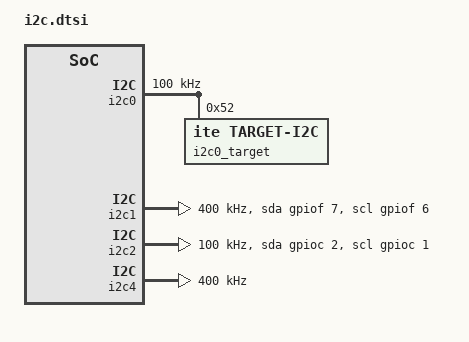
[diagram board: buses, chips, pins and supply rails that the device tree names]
/* Copyright 2025 The ChromiumOS Authors
 * Use of this source code is governed by a BSD-style license that can be
 * found in the LICENSE file.
 */

/ {
	named-i2c-ports {
		compatible = "named-i2c-ports";

		battery {
			i2c-port = <&i2c2>;
			enum-names = "I2C_PORT_BATTERY";
		};
		evb-1 {
			i2c-port = <&i2c0>;
			enum-names = "I2C_PORT_EVB_1";
		};
		evb-2 {
			i2c-port = <&i2c1>;
			enum-names = "I2C_PORT_EVB_2";
		};
		opt-4 {
			i2c-port = <&i2c4>;
			enum-names = "I2C_PORT_OPT_4";
		};
	};
};

&i2c0 {
	status = "okay";
	clock-frequency = <I2C_BITRATE_STANDARD>;
	pinctrl-0 = <&i2c0_clk_gpf2_default
		     &i2c0_data_gpf3_default>;
	pinctrl-names = "default";

	target-enable;
	target-shared-fifo-mode;

	i2c0_target: target@52 {
		compatible = "ite,target-i2c";
		reg = <0x52>;
	};
};

&i2c1 {
	status = "okay";
	clock-frequency = <I2C_BITRATE_FAST>;

	pinctrl-0 = <&i2c2_clk_gpf6_default
		     &i2c2_data_gpf7_default>;
	pinctrl-names = "default";
	scl-gpios = <&gpiof 6 0>;
	sda-gpios = <&gpiof 7 0>;
	channel-switch-sel = <SMB_SWITCH_INTERFACE2>;
	/delete-property/ fifo-enable;   /* FIFO2 */
};

&i2c2 {
	status = "okay";
	clock-frequency = <I2C_BITRATE_STANDARD>;

	pinctrl-0 = <&i2c1_clk_gpc1_default
		     &i2c1_data_gpc2_default>;
	pinctrl-names = "default";
	scl-gpios = <&gpioc 1 0>;
	sda-gpios = <&gpioc 2 0>;
	channel-switch-sel = <SMB_SWITCH_INTERFACE1>;

};

&i2c4 {
	status = "okay";
	clock-frequency = <I2C_BITRATE_FAST>;
	pinctrl-0 = <&i2c12_clk_gpf0_default
		     &i2c12_data_gpf1_default>;
	pinctrl-names = "default";
	push-pull-recovery;
	fifo-enable;
	channel-switch-sel = <SMB_SWITCH_INTERFACE12>;
};
